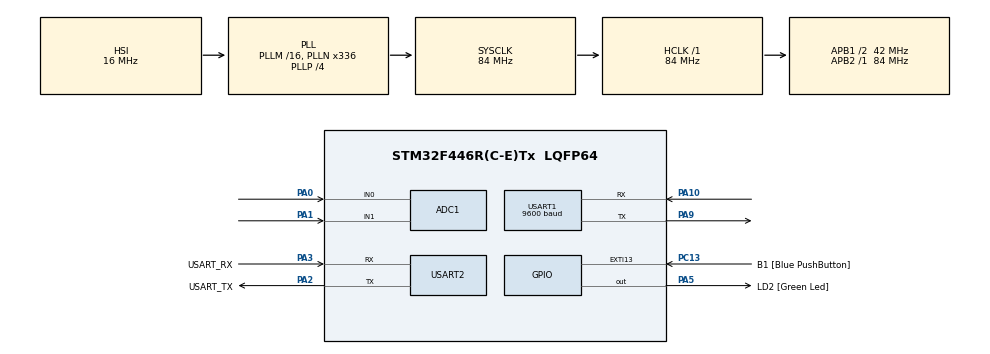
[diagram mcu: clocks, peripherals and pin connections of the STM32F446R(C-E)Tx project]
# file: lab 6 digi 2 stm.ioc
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ADC1.Channel-0\#ChannelRegularConversion=ADC_CHANNEL_0
ADC1.Channel-1\#ChannelRegularConversion=ADC_CHANNEL_1
ADC1.ContinuousConvMode=DISABLE
ADC1.DMAContinuousRequests=DISABLE
ADC1.EOCSelection=ADC_EOC_SEQ_CONV
ADC1.NbrOfConversion=2
ADC1.NbrOfConversionFlag=1
ADC1.Rank-0\#ChannelRegularConversion=1
ADC1.Rank-1\#ChannelRegularConversion=2
ADC1.SamplingTime-0\#ChannelRegularConversion=ADC_SAMPLETIME_56CYCLES
ADC1.SamplingTime-1\#ChannelRegularConversion=ADC_SAMPLETIME_56CYCLES
ADC1.ScanConvMode=ENABLE
ADC1.master=1
Dma.ADC1.0.Direction=DMA_PERIPH_TO_MEMORY
Dma.ADC1.0.FIFOMode=DMA_FIFOMODE_DISABLE
Dma.ADC1.0.Instance=DMA2_Stream0
Dma.ADC1.0.MemDataAlignment=DMA_MDATAALIGN_HALFWORD
Dma.ADC1.0.MemInc=DMA_MINC_ENABLE
Dma.ADC1.0.Mode=DMA_CIRCULAR
Dma.ADC1.0.PeriphDataAlignment=DMA_PDATAALIGN_HALFWORD
Dma.ADC1.0.PeriphInc=DMA_PINC_DISABLE
Dma.ADC1.0.Priority=DMA_PRIORITY_LOW
Dma.Request0=ADC1
Mcu.Family=STM32F4
Mcu.Name=STM32F446R(C-E)Tx
Mcu.Package=LQFP64
NVIC.ADC_IRQn=true\:0\:0\:false\:false\:true\:true\:true\:true
NVIC.DMA2_Stream0_IRQn=true\:0\:0\:false\:false\:true\:false\:true\:true
NVIC.PriorityGroup=NVIC_PRIORITYGROUP_0
NVIC.USART1_IRQn=true\:0\:0\:false\:false\:true\:true\:true\:true
NVIC.USART2_IRQn=true\:0\:0\:false\:false\:true\:true\:true\:true
PA0-WKUP.Signal=ADCx_IN0
PA1.Signal=ADCx_IN1
PA10.Mode=Asynchronous
PA10.Signal=USART1_RX
PA13.GPIO_Label=TMS
PA13.Signal=SYS_JTMS-SWDIO
PA14.GPIO_Label=TCK
PA14.Signal=SYS_JTCK-SWCLK
PA2.GPIO_Label=USART_TX
PA2.Mode=Asynchronous
PA2.Signal=USART2_TX
PA3.GPIO_Label=USART_RX
PA3.Mode=Asynchronous
PA3.Signal=USART2_RX
PA5.GPIO_Label=LD2 [Green Led]
PA5.Signal=GPIO_Output
PA9.Mode=Asynchronous
PA9.Signal=USART1_TX
PB3.GPIO_Label=SWO
PB3.Signal=SYS_JTDO-SWO
PC13.GPIO_Label=B1 [Blue PushButton]
PC13.GPIO_ModeDefaultEXTI=GPIO_MODE_IT_FALLING
PC13.Signal=GPXTI13
PC14-OSC32_IN.Signal=RCC_OSC32_IN
PC15-OSC32_OUT.Signal=RCC_OSC32_OUT
PH0-OSC_IN.Signal=RCC_OSC_IN
PH1-OSC_OUT.Signal=RCC_OSC_OUT
ProjectManager.HeapSize=0x200
ProjectManager.StackSize=0x400
ProjectManager.TargetToolchain=STM32CubeIDE
RCC.AHBFreq_Value=84000000
RCC.APB1CLKDivider=RCC_HCLK_DIV2
RCC.APB1Freq_Value=42000000
RCC.APB1TimFreq_Value=84000000
RCC.APB2Freq_Value=84000000
RCC.APB2TimFreq_Value=84000000
RCC.CortexFreq_Value=84000000
RCC.FLatency-AdvancedSettings=FLASH_LATENCY_2
RCC.HCLKFreq_Value=84000000
RCC.HSE_VALUE=8000000
RCC.HSI_VALUE=16000000
RCC.LSE_VALUE=32768
RCC.PLLN=336
RCC.PLLP=RCC_PLLP_DIV4
RCC.SYSCLKFreq_VALUE=84000000
RCC.SYSCLKSource=RCC_SYSCLKSOURCE_PLLCLK
RCC.USBFreq_Value=168000000
RCC.VCOOutputFreq_Value=336000000
SH.ADCx_IN0.0=ADC1_IN0,IN0
SH.ADCx_IN1.0=ADC1_IN1,IN1
USART1.BaudRate=9600
USART1.VirtualMode=VM_ASYNC
USART2.VirtualMode=VM_ASYNC
board=NUCLEO-F446RE

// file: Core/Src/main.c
/* USER CODE BEGIN Header */
/**
  ******************************************************************************
  * @file           : main.c
  * @brief          : Main program body
  ******************************************************************************
  * @attention
  *
  * Copyright (c) 2026 STMicroelectronics.
  * All rights reserved.
  *
  * This software is licensed under terms that can be found in the LICENSE file
  * in the root directory of this software component.
  * If no LICENSE file comes with this software, it is provided AS-IS.
  *
  ******************************************************************************
  */
/* USER CODE END Header */
#include "main.h"

/* USER CODE BEGIN Includes */
#include <stdio.h>
#include <string.h>
/* USER CODE END Includes */

ADC_HandleTypeDef hadc1;
DMA_HandleTypeDef hdma_adc1;

UART_HandleTypeDef huart1;
UART_HandleTypeDef huart2;

/* USER CODE BEGIN PV */
uint16_t adc_buffer[2];
const char* joy_y_state = "";
const char* joy_x_state = "";
const char* prev_joy_y = "";
const char* prev_joy_x = "";
uint8_t rx_byte;
char rx_line[16];
uint8_t rx_index = 0;
volatile uint8_t arriba = 0;
volatile uint8_t abajo = 0;
volatile uint8_t izquierda = 0;
volatile uint8_t derecha = 0;
volatile uint8_t botonA = 0;
volatile uint8_t botonB = 0;
/* USER CODE END PV */

void SystemClock_Config(void);
static void MX_GPIO_Init(void);
static void MX_DMA_Init(void);
static void MX_ADC1_Init(void);
static void MX_USART2_UART_Init(void);
static void MX_USART1_UART_Init(void);
/* USER CODE BEGIN PFP */
void Process_Joystick(void);
void Process_Nano_Buttons(void);
/* USER CODE END PFP */

int main(void)
{

  /* MCU Configuration--------------------------------------------------------*/

  /* Reset of all peripherals, Initializes the Flash interface and the Systick. */
  HAL_Init();

  /* Configure the system clock */
  SystemClock_Config();

  /* Initialize all configured peripherals */
  MX_GPIO_Init();
  MX_DMA_Init();
  MX_ADC1_Init();
  MX_USART2_UART_Init();
  MX_USART1_UART_Init();
  /* USER CODE BEGIN 2 */
  HAL_UART_Receive_IT(&huart1, &rx_byte, 1);
  HAL_ADC_Start_DMA(&hadc1, (uint32_t*)adc_buffer, 2);
  /* USER CODE END 2 */

  /* Infinite loop */
  /* USER CODE BEGIN WHILE */
  while (1)
  {
	  HAL_ADC_Start_DMA(&hadc1, (uint32_t*)adc_buffer, 2);
	  Process_Joystick();
	  Process_Nano_Buttons();

	  HAL_Delay(100);
    /* USER CODE END WHILE */

  }
}

void SystemClock_Config(void)
{
  RCC_OscInitTypeDef RCC_OscInitStruct = {0};
  RCC_ClkInitTypeDef RCC_ClkInitStruct = {0};

  /** Configure the main internal regulator output voltage
  */
  __HAL_RCC_PWR_CLK_ENABLE();
  __HAL_PWR_VOLTAGESCALING_CONFIG(PWR_REGULATOR_VOLTAGE_SCALE3);

  /** Initializes the RCC Oscillators according to the specified parameters
  * in the RCC_OscInitTypeDef structure.
  */
  RCC_OscInitStruct.OscillatorType = RCC_OSCILLATORTYPE_HSI;
  RCC_OscInitStruct.HSIState = RCC_HSI_ON;
  RCC_OscInitStruct.HSICalibrationValue = RCC_HSICALIBRATION_DEFAULT;
  RCC_OscInitStruct.PLL.PLLState = RCC_PLL_ON;
  RCC_OscInitStruct.PLL.PLLSource = RCC_PLLSOURCE_HSI;
  RCC_OscInitStruct.PLL.PLLM = 16;
  RCC_OscInitStruct.PLL.PLLN = 336;
  RCC_OscInitStruct.PLL.PLLP = RCC_PLLP_DIV4;
  RCC_OscInitStruct.PLL.PLLQ = 2;
  RCC_OscInitStruct.PLL.PLLR = 2;
  if (HAL_RCC_OscConfig(&RCC_OscInitStruct) != HAL_OK)
  {
    Error_Handler();
  }

  /** Initializes the CPU, AHB and APB buses clocks
  */
  RCC_ClkInitStruct.ClockType = RCC_CLOCKTYPE_HCLK|RCC_CLOCKTYPE_SYSCLK
                              |RCC_CLOCKTYPE_PCLK1|RCC_CLOCKTYPE_PCLK2;
  RCC_ClkInitStruct.SYSCLKSource = RCC_SYSCLKSOURCE_PLLCLK;
  RCC_ClkInitStruct.AHBCLKDivider = RCC_SYSCLK_DIV1;
  RCC_ClkInitStruct.APB1CLKDivider = RCC_HCLK_DIV2;
  RCC_ClkInitStruct.APB2CLKDivider = RCC_HCLK_DIV1;

  if (HAL_RCC_ClockConfig(&RCC_ClkInitStruct, FLASH_LATENCY_2) != HAL_OK)
  {
    Error_Handler();
  }
}

static void MX_ADC1_Init(void)
{

  ADC_ChannelConfTypeDef sConfig = {0};

  /** Configure the global features of the ADC (Clock, Resolution, Data Alignment and number of conversion)
  */
  hadc1.Instance = ADC1;
  hadc1.Init.ClockPrescaler = ADC_CLOCK_SYNC_PCLK_DIV4;
  hadc1.Init.Resolution = ADC_RESOLUTION_12B;
  hadc1.Init.ScanConvMode = ENABLE;
  hadc1.Init.ContinuousConvMode = DISABLE;
  hadc1.Init.DiscontinuousConvMode = DISABLE;
  hadc1.Init.ExternalTrigConvEdge = ADC_EXTERNALTRIGCONVEDGE_NONE;
  hadc1.Init.ExternalTrigConv = ADC_SOFTWARE_START;
  hadc1.Init.DataAlign = ADC_DATAALIGN_RIGHT;
  hadc1.Init.NbrOfConversion = 2;
  hadc1.Init.DMAContinuousRequests = DISABLE;
  hadc1.Init.EOCSelection = ADC_EOC_SEQ_CONV;
  if (HAL_ADC_Init(&hadc1) != HAL_OK)
  {
    Error_Handler();
  }

  /** Configure for the selected ADC regular channel its corresponding rank in the sequencer and its sample time.
  */
  sConfig.Channel = ADC_CHANNEL_0;
  sConfig.Rank = 1;
  sConfig.SamplingTime = ADC_SAMPLETIME_56CYCLES;
  if (HAL_ADC_ConfigChannel(&hadc1, &sConfig) != HAL_OK)
  {
    Error_Handler();
  }

  /** Configure for the selected ADC regular channel its corresponding rank in the sequencer and its sample time.
  */
  sConfig.Channel = ADC_CHANNEL_1;
  sConfig.Rank = 2;
  if (HAL_ADC_ConfigChannel(&hadc1, &sConfig) != HAL_OK)
  {
    Error_Handler();
  }

}

static void MX_USART1_UART_Init(void)
{

  huart1.Instance = USART1;
  huart1.Init.BaudRate = 9600;
  huart1.Init.WordLength = UART_WORDLENGTH_8B;
  huart1.Init.StopBits = UART_STOPBITS_1;
  huart1.Init.Parity = UART_PARITY_NONE;
  huart1.Init.Mode = UART_MODE_TX_RX;
  huart1.Init.HwFlowCtl = UART_HWCONTROL_NONE;
  huart1.Init.OverSampling = UART_OVERSAMPLING_16;
  if (HAL_UART_Init(&huart1) != HAL_OK)
  {
    Error_Handler();
  }

}

static void MX_USART2_UART_Init(void)
{

  huart2.Instance = USART2;
  huart2.Init.BaudRate = 115200;
  huart2.Init.WordLength = UART_WORDLENGTH_8B;
  huart2.Init.StopBits = UART_STOPBITS_1;
  huart2.Init.Parity = UART_PARITY_NONE;
  huart2.Init.Mode = UART_MODE_TX_RX;
  huart2.Init.HwFlowCtl = UART_HWCONTROL_NONE;
  huart2.Init.OverSampling = UART_OVERSAMPLING_16;
  if (HAL_UART_Init(&huart2) != HAL_OK)
  {
    Error_Handler();
  }

}

static void MX_DMA_Init(void)
{

  /* DMA controller clock enable */
  __HAL_RCC_DMA2_CLK_ENABLE();

  /* DMA interrupt init */
  /* DMA2_Stream0_IRQn interrupt configuration */
  HAL_NVIC_SetPriority(DMA2_Stream0_IRQn, 0, 0);
  HAL_NVIC_EnableIRQ(DMA2_Stream0_IRQn);

}

static void MX_GPIO_Init(void)
{
  GPIO_InitTypeDef GPIO_InitStruct = {0};

  /* GPIO Ports Clock Enable */
  __HAL_RCC_GPIOC_CLK_ENABLE();
  __HAL_RCC_GPIOH_CLK_ENABLE();
  __HAL_RCC_GPIOA_CLK_ENABLE();
  __HAL_RCC_GPIOB_CLK_ENABLE();

  /*Configure GPIO pin Output Level */
  HAL_GPIO_WritePin(LD2_GPIO_Port, LD2_Pin, GPIO_PIN_RESET);

  /*Configure GPIO pin : B1_Pin */
  GPIO_InitStruct.Pin = B1_Pin;
  GPIO_InitStruct.Mode = GPIO_MODE_IT_FALLING;
  GPIO_InitStruct.Pull = GPIO_NOPULL;
  HAL_GPIO_Init(B1_GPIO_Port, &GPIO_InitStruct);

  /*Configure GPIO pin : LD2_Pin */
  GPIO_InitStruct.Pin = LD2_Pin;
  GPIO_InitStruct.Mode = GPIO_MODE_OUTPUT_PP;
  GPIO_InitStruct.Pull = GPIO_NOPULL;
  GPIO_InitStruct.Speed = GPIO_SPEED_FREQ_LOW;
  HAL_GPIO_Init(LD2_GPIO_Port, &GPIO_InitStruct);

}

/* USER CODE BEGIN 4 */
void HAL_UART_RxCpltCallback(UART_HandleTypeDef *huart)
{
  if (huart->Instance == USART1)
  {
    // Acumular caracteres hasta recibir salto de línea ('\n' o '\r')
    if (rx_byte != '\r' && rx_byte != '\n')
    {
      if (rx_index < sizeof(rx_line) - 1)
      {
        rx_line[rx_index++] = (char)rx_byte;
      }
    }
    else if (rx_index > 0)
    {
      rx_line[rx_index] = '\0'; // Finalizar la cadena recibida

      // Comparaciones simples para actualizar los registros
      if (strcmp(rx_line, "up1") == 0)         arriba = 1;
      else if (strcmp(rx_line, "up0") == 0)    arriba = 0;
      else if (strcmp(rx_line, "down1") == 0)  abajo = 1;
      else if (strcmp(rx_line, "down0") == 0)  abajo = 0;
      else if (strcmp(rx_line, "left1") == 0)  izquierda = 1;
      else if (strcmp(rx_line, "left0") == 0)  izquierda = 0;
      else if (strcmp(rx_line, "right1") == 0) derecha = 1;
      else if (strcmp(rx_line, "right0") == 0) derecha = 0;
      else if (strcmp(rx_line, "A1") == 0)     botonA = 1;
      else if (strcmp(rx_line, "A0") == 0)     botonA = 0;
      else if (strcmp(rx_line, "B1") == 0)     botonB = 1;
      else if (strcmp(rx_line, "B0") == 0)     botonB = 0;

      rx_index = 0; // Reiniciar buffer
    }

    // Re-habilitar la interrupción para el siguiente carácter
    HAL_UART_Receive_IT(&huart1, &rx_byte, 1);
  }
}

void Process_Nano_Buttons(void)
{
  char tx_buf[128] = "C2: [ ";
  uint8_t hay_presionado = 0;

  if (arriba)    { strcat(tx_buf, "Arriba ");    hay_presionado = 1; }
  if (abajo)     { strcat(tx_buf, "Abajo ");     hay_presionado = 1; }
  if (izquierda) { strcat(tx_buf, "Izquierda "); hay_presionado = 1; }
  if (derecha)   { strcat(tx_buf, "Derecha ");   hay_presionado = 1; }
  if (botonA)    { strcat(tx_buf, "A ");         hay_presionado = 1; }
  if (botonB)    { strcat(tx_buf, "B ");         hay_presionado = 1; }

  // Solo transmite a la PC si hay al menos un botón presionado
  if (hay_presionado)
  {
    strcat(tx_buf, "]\r\n");
    HAL_UART_Transmit(&huart2, (uint8_t*)tx_buf, strlen(tx_buf), HAL_MAX_DELAY);
  }
}

// --- Procesamiento ADC Joystick ---
void Process_Joystick(void)
{
  if (adc_buffer[0] > 2800)       joy_y_state = "C1: Arriba\r\n";
  else if (adc_buffer[0] < 1200)  joy_y_state = "C1: Abajo\r\n";
  else                            joy_y_state = "";

  if (adc_buffer[1] > 2800)       joy_x_state = "C1: Derecha\r\n";
  else if (adc_buffer[1] < 1200)  joy_x_state = "C1: Izquierda\r\n";
  else                            joy_x_state = "";

  if (joy_y_state != prev_joy_y && strlen(joy_y_state) > 0) {
    HAL_UART_Transmit(&huart2, (uint8_t*)joy_y_state, strlen(joy_y_state), HAL_MAX_DELAY);
    prev_joy_y = joy_y_state;
  }

  if (joy_x_state != prev_joy_x && strlen(joy_x_state) > 0) {
    HAL_UART_Transmit(&huart2, (uint8_t*)joy_x_state, strlen(joy_x_state), HAL_MAX_DELAY);
    prev_joy_x = joy_x_state;
  }
}

/* USER CODE END 4 */

void Error_Handler(void)
{
  __disable_irq();
  while (1)
  {
  }
}
